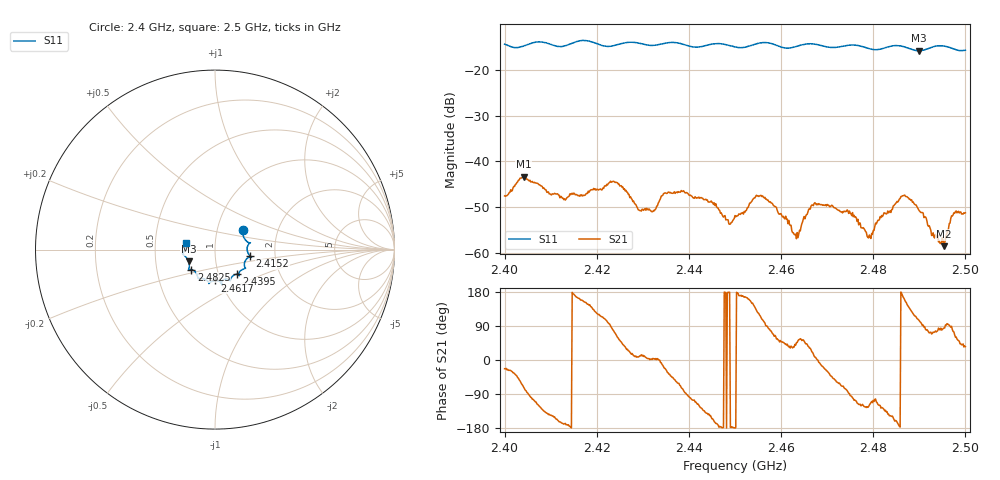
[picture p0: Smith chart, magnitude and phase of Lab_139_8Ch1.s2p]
# Hz S RI R 50
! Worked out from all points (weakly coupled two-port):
!   601 points, 2.4 GHz to 2.5 GHz, reference 50 ohm
!   highest |S21| = -43.31 dB at 2.4042 GHz (marker M1); lowest = -58.5 dB at 2.4953 GHz (marker M2)
!   lowest |S11| = -15.9 dB at 2.4898 GHz (marker M3), VSWR 1.38, Z = 36.9 - j4.89 ohm
!   |S11| at or under -10 dB: start of sweep to end of sweep
!   S12 and S22 are empty: the file has one direction only
!   S11 on the Smith chart (normalised r, x): 2.4 GHz: 1.33, +0.30; 2.4152 GHz: 1.48, -0.11; 2.4395 GHz: 1.22, -0.35; 2.4617 GHz: 0.94, -0.33; 2.4825 GHz: 0.75, -0.17; 2.5 GHz: 0.72, +0.05
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2.4e9  0.1555 0.1097  0.00388 -0.00165  0 0  0 0
2.404167e9  0.1759 0.047  0.00205 -0.00651  0 0  0 0
2.415167e9  0.1959 -0.0363  -0.00442 0.000642  0 0  0 0
2.416667e9  0.204 -0.0418  -0.00401 0.00161  0 0  0 0
2.4235e9  0.1634 -0.0806  0.00109 0.00596  0 0  0 0
2.429333e9  0.1628 -0.1065  0.00286 0.000547  0 0  0 0
2.433333e9  0.1327 -0.1329  0.0035 0.000104  0 0  0 0
2.4395e9  0.1227 -0.1378  -7.9e-05 -0.00458  0 0  0 0
2.45e9  0.0667 -0.1644  -0.00257 -1.46e-05  0 0  0 0
2.455167e9  0.0361 -0.1915  -0.00224 0.00349  0 0  0 0
2.461667e9  0.000886 -0.1719  0.00188 0.0013  0 0  0 0
2.463333e9  -0.0208 -0.1785  0.001 0.00103  0 0  0 0
2.466667e9  -0.0338 -0.1889  0.0031 0.00125  0 0  0 0
2.474667e9  -0.0903 -0.1616  0.000108 -0.00271  0 0  0 0
2.479167e9  -0.1025 -0.1351  -0.000758 -0.00138  0 0  0 0
2.4825e9  -0.1326 -0.1112  -0.00192 -0.00196  0 0  0 0
2.483333e9  -0.1398 -0.1104  -0.00219 -0.00166  0 0  0 0
2.4865e9  -0.1457 -0.1044  -0.0041 0.00104  0 0  0 0
2.489833e9  -0.1475 -0.0646  -0.000823 0.00287  0 0  0 0
2.495333e9  -0.1803 -0.0202  0.000116 0.00119  0 0  0 0
2.4975e9  -0.1684 -0.00433  0.000747 0.00265  0 0  0 0
2.5e9  -0.1598 0.0354  0.00225 0.00158  0 0  0 0
